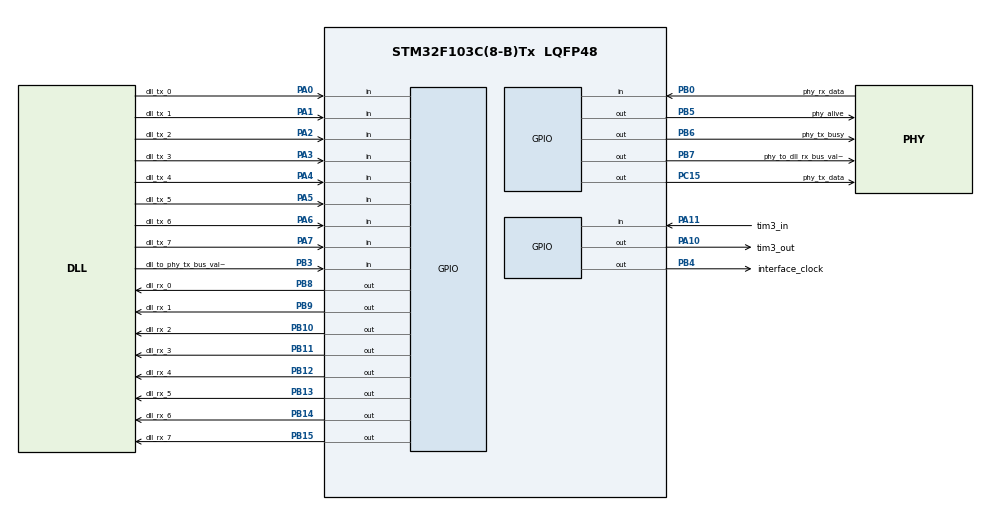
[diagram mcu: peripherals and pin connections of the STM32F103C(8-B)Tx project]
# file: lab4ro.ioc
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Mcu.Family=STM32F1
Mcu.Name=STM32F103C(8-B)Tx
Mcu.Package=LQFP48
NVIC.PriorityGroup=NVIC_PRIORITYGROUP_4
NVIC.TIM2_IRQn=true\:0\:0\:false\:true\:true\:1\:true
NVIC.TIM3_IRQn=true\:0\:0\:false\:true\:true\:2\:true
NVIC.TIM4_IRQn=true\:0\:0\:false\:true\:true\:3\:true
PA0-WKUP.GPIO_Label=dll_tx_0
PA0-WKUP.GPIO_PuPd=GPIO_PULLDOWN
PA0-WKUP.Signal=GPIO_Input
PA1.GPIO_Label=dll_tx_1
PA1.GPIO_PuPd=GPIO_PULLDOWN
PA1.Signal=GPIO_Input
PA10.GPIO_Label=tim3_out
PA10.Signal=GPIO_Output
PA11.GPIO_Label=tim3_in
PA11.GPIO_PuPd=GPIO_PULLDOWN
PA11.Signal=GPIO_Input
PA13.Mode=Serial_Wire
PA13.Signal=SYS_JTMS-SWDIO
PA14.Mode=Serial_Wire
PA14.Signal=SYS_JTCK-SWCLK
PA2.GPIO_Label=dll_tx_2
PA2.GPIO_PuPd=GPIO_PULLDOWN
PA2.Signal=GPIO_Input
PA3.GPIO_Label=dll_tx_3
PA3.GPIO_PuPd=GPIO_PULLDOWN
PA3.Signal=GPIO_Input
PA4.GPIO_Label=dll_tx_4
PA4.GPIO_PuPd=GPIO_PULLDOWN
PA4.Signal=GPIO_Input
PA5.GPIO_Label=dll_tx_5
PA5.GPIO_PuPd=GPIO_PULLDOWN
PA5.Signal=GPIO_Input
PA6.GPIO_Label=dll_tx_6
PA6.GPIO_PuPd=GPIO_PULLDOWN
PA6.Signal=GPIO_Input
PA7.GPIO_Label=dll_tx_7
PA7.GPIO_PuPd=GPIO_PULLDOWN
PA7.Signal=GPIO_Input
PB0.GPIO_Label=phy_rx_data
PB0.GPIO_PuPd=GPIO_PULLDOWN
PB0.Signal=GPIO_Input
PB10.GPIO_Label=dll_rx_2
PB10.Signal=GPIO_Output
PB11.GPIO_Label=dll_rx_3
PB11.Signal=GPIO_Output
PB12.GPIO_Label=dll_rx_4
PB12.Signal=GPIO_Output
PB13.GPIO_Label=dll_rx_5
PB13.Signal=GPIO_Output
PB14.GPIO_Label=dll_rx_6
PB14.Signal=GPIO_Output
PB15.GPIO_Label=dll_rx_7
PB15.Signal=GPIO_Output
PB3.GPIO_Label=dll_to_phy_tx_bus_valid
PB3.GPIO_PuPd=GPIO_PULLDOWN
PB3.Signal=GPIO_Input
PB4.GPIO_Label=interface_clock
PB4.Signal=GPIO_Output
PB5.GPIO_Label=phy_alive
PB5.Signal=GPIO_Output
PB6.GPIO_Label=phy_tx_busy
PB6.Signal=GPIO_Output
PB7.GPIO_Label=phy_to_dll_rx_bus_valid
PB7.Signal=GPIO_Output
PB8.GPIO_Label=dll_rx_0
PB8.Signal=GPIO_Output
PB9.GPIO_Label=dll_rx_1
PB9.Signal=GPIO_Output
PC15-OSC32_OUT.GPIO_Label=phy_tx_data
PC15-OSC32_OUT.Signal=GPIO_Output
ProjectManager.HeapSize=0x200
ProjectManager.StackSize=0x400
ProjectManager.TargetToolchain=MDK-ARM V5
RCC.AHBFreq_Value=8000000
RCC.APB1Freq_Value=8000000
RCC.APB1TimFreq_Value=8000000
RCC.APB2Freq_Value=8000000
RCC.APB2TimFreq_Value=8000000
RCC.HCLKFreq_Value=8000000
TIM2.AutoReloadPreload=TIM_AUTORELOAD_PRELOAD_ENABLE
TIM2.Period=159
TIM2.Prescaler=124
TIM3.AutoReloadPreload=TIM_AUTORELOAD_PRELOAD_ENABLE
TIM3.Period=79
TIM3.Prescaler=124
TIM4.AutoReloadPreload=TIM_AUTORELOAD_PRELOAD_ENABLE
TIM4.Period=3
TIM4.Prescaler=124
VP_TIM2_VS_ClockSourceINT.Mode=Internal
VP_TIM3_VS_ClockSourceINT.Mode=Internal
VP_TIM4_VS_ClockSourceINT.Mode=Internal
board=custom

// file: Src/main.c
/**
  ******************************************************************************
  * @file           : main.c
  * @brief          : Main program body
  ******************************************************************************
  ** This notice applies to any and all portions of this file
  * that are not between comment pairs USER CODE BEGIN and
  * USER CODE END. Other portions of this file, whether
  * inserted by the user or by software development tools
  * are owned by their respective copyright owners.
  *
  * COPYRIGHT(c) 2020 STMicroelectronics
  *
  * Redistribution and use in source and binary forms, with or without modification,
  * are permitted provided that the following conditions are met:
  *   1. Redistributions of source code must retain the above copyright notice,
  *      this list of conditions and the following disclaimer.
  *   2. Redistributions in binary form must reproduce the above copyright notice,
  *      this list of conditions and the following disclaimer in the documentation
  *      and/or other materials provided with the distribution.
  *   3. Neither the name of STMicroelectronics nor the names of its contributors
  *      may be used to endorse or promote products derived from this software
  *      without specific prior written permission.
  *
  * THIS SOFTWARE IS PROVIDED BY THE COPYRIGHT HOLDERS AND CONTRIBUTORS "AS IS"
  * AND ANY EXPRESS OR IMPLIED WARRANTIES, INCLUDING, BUT NOT LIMITED TO, THE
  * IMPLIED WARRANTIES OF MERCHANTABILITY AND FITNESS FOR A PARTICULAR PURPOSE ARE
  * DISCLAIMED. IN NO EVENT SHALL THE COPYRIGHT HOLDER OR CONTRIBUTORS BE LIABLE
  * FOR ANY DIRECT, INDIRECT, INCIDENTAL, SPECIAL, EXEMPLARY, OR CONSEQUENTIAL
  * DAMAGES (INCLUDING, BUT NOT LIMITED TO, PROCUREMENT OF SUBSTITUTE GOODS OR
  * SERVICES; LOSS OF USE, DATA, OR PROFITS; OR BUSINESS INTERRUPTION) HOWEVER
  * CAUSED AND ON ANY THEORY OF LIABILITY, WHETHER IN CONTRACT, STRICT LIABILITY,
  * OR TORT (INCLUDING NEGLIGENCE OR OTHERWISE) ARISING IN ANY WAY OUT OF THE USE
  * OF THIS SOFTWARE, EVEN IF ADVISED OF THE POSSIBILITY OF SUCH DAMAGE.
  *
  ******************************************************************************
  */
#include "main.h"
#include "stm32f1xx_hal.h"

/* USER CODE BEGIN Includes */
#include <stdint.h>
#define GPIOA_IDR 0x40010808
#define GPIOB_ODR 0x40010C0C
/* USER CODE END Includes */

TIM_HandleTypeDef htim2;
TIM_HandleTypeDef htim3;
TIM_HandleTypeDef htim4;

/* USER CODE BEGIN PV */
/* Private variables ---------------------------------------------------------*/
uint32_t phy_to_dll_rx_bus = 0; // saves the data recived from the phy to phy and moves it to the dll_rx

uint8_t phy_to_dll_rx_bus_valid = 0; // checks if there is data to be transferd to the dll_rx from the phy layer

uint32_t dll_to_phy_tx_bus = 0; // saves the original data we want to transfer to the phy layer from the dll tx.

uint8_t dll_to_phy_tx_bus_valid = 0; // checks if theres data allready transferd from the dll to the [hy layer

uint8_t phy_tx_busy = 0; // checks if there is data being transmited at the moment.
static uint32_t parity_tx=0;
uint32_t started =1;
static uint32_t c_clock=0;
int ft_flag=1;
static uint32_t prv_clock=0;
int ft2_flag=1;
uint8_t data=0;
uint8_t interface_tx_flag=0;
uint8_t interface_rx_flag=0;
static uint32_t *GPIOA_IDR_Pointer = (uint32_t*)GPIOA_IDR;
static uint32_t *GPIOB_ODR_Pointer = (uint32_t*)GPIOB_ODR;
uint32_t tempi2 = 0;
uint32_t stop_tim_flag =0;
uint32_t clock = 0;
uint32_t rx_current=1;
uint32_t rx_befcurrent=1;
static uint16_t shifter =1; // for the masking in order to iso the bit
static uint16_t transfer = 0; // var to the masked bit
//int samples =0;
//char all_samples[5] = {0};
//char its_for_1samp ;
uint32_t before_clock =0;
/* USER CODE END PV */

void SystemClock_Config(void);
static void MX_GPIO_Init(void);
static void MX_TIM2_Init(void);
static void MX_TIM3_Init(void);
static void MX_TIM4_Init(void);
static void MX_NVIC_Init(void);

/* USER CODE BEGIN PFP */
/* Private function prototypes -----------------------------------------------*/

/* USER CODE END PFP */

/* USER CODE BEGIN 0 */
	void interface()
{
	uint32_t efi =0; // just kidding efi num 1 also oren
	if (ft_flag)
	{
		HAL_TIM_Base_Start(&htim2);
		HAL_TIM_Base_Start_IT(&htim2);
		ft_flag=0;
		prv_clock=0;
	}
	if(!c_clock&&prv_clock&&dll_to_phy_tx_bus_valid)
	{
		dll_to_phy_tx_bus=(*GPIOA_IDR_Pointer & 255);
		interface_tx_flag=1;
	}
	else if ((c_clock)&&(!prv_clock))
		{
			if (ft2_flag)
			{
				HAL_GPIO_WritePin(phy_alive_GPIO_Port, phy_alive_Pin,GPIO_PIN_SET);
				ft2_flag=0;
			}
			if (phy_to_dll_rx_bus_valid)
			{
				HAL_GPIO_WritePin(phy_to_dll_rx_bus_valid_GPIO_Port, phy_to_dll_rx_bus_valid_Pin,GPIO_PIN_RESET);
			}
			if (interface_rx_flag)
			{
				efi = (phy_to_dll_rx_bus<<8) + (*GPIOB_ODR_Pointer & 255);
				*GPIOB_ODR_Pointer = efi;
				HAL_GPIO_WritePin(phy_to_dll_rx_bus_valid_GPIO_Port,phy_to_dll_rx_bus_valid_Pin,GPIO_PIN_SET);
				phy_to_dll_rx_bus_valid =1;
				//phy_to_dll_rx_bus=0;
				interface_rx_flag=0;
			}
		}
	prv_clock=c_clock;

}
void sampleClocks()
{
    before_clock = clock;
		prv_clock=c_clock;
		//phy_rx_clock = HAL_GPIO_ReadPin(phy_rx_clock_GPIO_Port,phy_rx_clock_Pin);
    c_clock = HAL_GPIO_ReadPin(interface_clock_GPIO_Port,interface_clock_Pin);
    dll_to_phy_tx_bus_valid = HAL_GPIO_ReadPin(dll_to_phy_tx_bus_valid_GPIO_Port, dll_to_phy_tx_bus_valid_Pin);
    phy_to_dll_rx_bus_valid = HAL_GPIO_ReadPin(phy_to_dll_rx_bus_valid_GPIO_Port, phy_to_dll_rx_bus_valid_Pin);
		clock=HAL_GPIO_ReadPin(tim3_in_GPIO_Port,tim3_in_Pin);

}

void phy_Tx()
{

	static uint32_t stop_bit=1;
	static int firsttime=1;
	static uint32_t place_in_frame=0;
	if(firsttime)
			HAL_GPIO_WritePin(phy_tx_data_GPIO_Port,phy_tx_data_Pin,GPIO_PIN_SET);
	if(interface_tx_flag && firsttime)
	{
		HAL_TIM_Base_Start_IT(&htim3);
		HAL_GPIO_WritePin(phy_tx_busy_GPIO_Port,phy_tx_busy_Pin,GPIO_PIN_SET);
		interface_tx_flag=0;
		firsttime=0;
	}
	else if(!before_clock&&clock)
	{
		switch(place_in_frame)
		{
			case 0:  //start bit - send logic 0
				HAL_GPIO_WritePin(phy_tx_data_GPIO_Port,phy_tx_data_Pin,GPIO_PIN_RESET);
				place_in_frame=1;
				break;
			case 1: //sending 1
				transfer = ((dll_to_phy_tx_bus) &	(shifter));
				if (shifter>128)
				{
					place_in_frame=2;
					HAL_GPIO_WritePin(phy_tx_data_GPIO_Port,phy_tx_data_Pin,parity_tx);

				}
				else if (transfer == shifter)
				{
					HAL_GPIO_WritePin (phy_tx_data_GPIO_Port, phy_tx_data_Pin, GPIO_PIN_SET);	//inserts one to the data
					parity_tx=1-parity_tx;
				}
				else
				{
					HAL_GPIO_WritePin (phy_tx_data_GPIO_Port, phy_tx_data_Pin, GPIO_PIN_RESET); // inserts zero to data
				}
				shifter = shifter*2;
				break;
			case 2:
				if (stop_bit==1)
				{
					HAL_GPIO_WritePin(phy_tx_data_GPIO_Port, phy_tx_data_Pin, GPIO_PIN_SET);
					stop_bit=2;

				}
				else if(stop_bit ==2)
				{
					HAL_GPIO_WritePin(phy_tx_data_GPIO_Port, phy_tx_data_Pin, GPIO_PIN_SET);
					stop_bit=3;

				}
			 else if(stop_bit==3)
				{
					stop_bit=1;
					HAL_TIM_Base_Stop_IT(&htim3);
					HAL_GPIO_WritePin(phy_tx_busy_GPIO_Port,phy_tx_busy_Pin,GPIO_PIN_RESET);
					place_in_frame =0;
					firsttime =1;
					shifter =1;
					parity_tx=0;
					transfer =0;
					HAL_GPIO_WritePin(tim3_out_GPIO_Port,tim3_out_Pin,GPIO_PIN_RESET);
				}
				break;
		}
	}
}

void phy_Rx()
{
	rx_current = HAL_GPIO_ReadPin(phy_rx_data_GPIO_Port,phy_rx_data_Pin);
	if(rx_current!=rx_befcurrent&&started)
	{
		HAL_TIM_Base_Start_IT(&htim4);
		started=0;
	}
	if(stop_tim_flag)
	{
		HAL_TIM_Base_Stop_IT(&htim4);
		started=1;
		stop_tim_flag=0;
	}

	rx_befcurrent = rx_current;

}

void phy_layer()
{
	phy_Tx();
	phy_Rx();
}

/* USER CODE END 0 */

int main(void)
{

  /* MCU Configuration----------------------------------------------------------*/

  /* Reset of all peripherals, Initializes the Flash interface and the Systick. */
  HAL_Init();

  /* Configure the system clock */
  SystemClock_Config();

  /* Initialize all configured peripherals */
  MX_GPIO_Init();
  MX_TIM2_Init();
  MX_TIM3_Init();
  MX_TIM4_Init();

  /* Initialize interrupts */
  MX_NVIC_Init();

  /* Infinite loop */
  /* USER CODE BEGIN WHILE */
  while (1)
  {
		phy_layer();
		interface();
		sampleClocks();
  /* USER CODE END WHILE */

  }

}

void SystemClock_Config(void)
{

  RCC_OscInitTypeDef RCC_OscInitStruct;
  RCC_ClkInitTypeDef RCC_ClkInitStruct;

    /**Initializes the CPU, AHB and APB busses clocks
    */
  RCC_OscInitStruct.OscillatorType = RCC_OSCILLATORTYPE_HSI;
  RCC_OscInitStruct.HSIState = RCC_HSI_ON;
  RCC_OscInitStruct.HSICalibrationValue = 16;
  RCC_OscInitStruct.PLL.PLLState = RCC_PLL_NONE;
  if (HAL_RCC_OscConfig(&RCC_OscInitStruct) != HAL_OK)
  {
    _Error_Handler(__FILE__, __LINE__);
  }

    /**Initializes the CPU, AHB and APB busses clocks
    */
  RCC_ClkInitStruct.ClockType = RCC_CLOCKTYPE_HCLK|RCC_CLOCKTYPE_SYSCLK
                              |RCC_CLOCKTYPE_PCLK1|RCC_CLOCKTYPE_PCLK2;
  RCC_ClkInitStruct.SYSCLKSource = RCC_SYSCLKSOURCE_HSI;
  RCC_ClkInitStruct.AHBCLKDivider = RCC_SYSCLK_DIV1;
  RCC_ClkInitStruct.APB1CLKDivider = RCC_HCLK_DIV1;
  RCC_ClkInitStruct.APB2CLKDivider = RCC_HCLK_DIV1;

  if (HAL_RCC_ClockConfig(&RCC_ClkInitStruct, FLASH_LATENCY_0) != HAL_OK)
  {
    _Error_Handler(__FILE__, __LINE__);
  }

    /**Configure the Systick interrupt time
    */
  HAL_SYSTICK_Config(HAL_RCC_GetHCLKFreq()/1000);

    /**Configure the Systick
    */
  HAL_SYSTICK_CLKSourceConfig(SYSTICK_CLKSOURCE_HCLK);

  /* SysTick_IRQn interrupt configuration */
  HAL_NVIC_SetPriority(SysTick_IRQn, 0, 0);
}

/**
  * @brief NVIC Configuration.
  * @retval None
  */
static void MX_NVIC_Init(void)
{
  /* TIM2_IRQn interrupt configuration */
  HAL_NVIC_SetPriority(TIM2_IRQn, 0, 0);
  HAL_NVIC_EnableIRQ(TIM2_IRQn);
  /* TIM3_IRQn interrupt configuration */
  HAL_NVIC_SetPriority(TIM3_IRQn, 0, 0);
  HAL_NVIC_EnableIRQ(TIM3_IRQn);
  /* TIM4_IRQn interrupt configuration */
  HAL_NVIC_SetPriority(TIM4_IRQn, 0, 0);
  HAL_NVIC_EnableIRQ(TIM4_IRQn);
}

/* TIM2 init function */
static void MX_TIM2_Init(void)
{

  TIM_ClockConfigTypeDef sClockSourceConfig;
  TIM_MasterConfigTypeDef sMasterConfig;

  htim2.Instance = TIM2;
  htim2.Init.Prescaler = 124;
  htim2.Init.CounterMode = TIM_COUNTERMODE_UP;
  htim2.Init.Period = 159;
  htim2.Init.ClockDivision = TIM_CLOCKDIVISION_DIV1;
  htim2.Init.AutoReloadPreload = TIM_AUTORELOAD_PRELOAD_ENABLE;
  if (HAL_TIM_Base_Init(&htim2) != HAL_OK)
  {
    _Error_Handler(__FILE__, __LINE__);
  }

  sClockSourceConfig.ClockSource = TIM_CLOCKSOURCE_INTERNAL;
  if (HAL_TIM_ConfigClockSource(&htim2, &sClockSourceConfig) != HAL_OK)
  {
    _Error_Handler(__FILE__, __LINE__);
  }

  sMasterConfig.MasterOutputTrigger = TIM_TRGO_RESET;
  sMasterConfig.MasterSlaveMode = TIM_MASTERSLAVEMODE_DISABLE;
  if (HAL_TIMEx_MasterConfigSynchronization(&htim2, &sMasterConfig) != HAL_OK)
  {
    _Error_Handler(__FILE__, __LINE__);
  }

}

/* TIM3 init function */
static void MX_TIM3_Init(void)
{

  TIM_ClockConfigTypeDef sClockSourceConfig;
  TIM_MasterConfigTypeDef sMasterConfig;

  htim3.Instance = TIM3;
  htim3.Init.Prescaler = 124;
  htim3.Init.CounterMode = TIM_COUNTERMODE_UP;
  htim3.Init.Period = 79;
  htim3.Init.ClockDivision = TIM_CLOCKDIVISION_DIV1;
  htim3.Init.AutoReloadPreload = TIM_AUTORELOAD_PRELOAD_ENABLE;
  if (HAL_TIM_Base_Init(&htim3) != HAL_OK)
  {
    _Error_Handler(__FILE__, __LINE__);
  }

  sClockSourceConfig.ClockSource = TIM_CLOCKSOURCE_INTERNAL;
  if (HAL_TIM_ConfigClockSource(&htim3, &sClockSourceConfig) != HAL_OK)
  {
    _Error_Handler(__FILE__, __LINE__);
  }

  sMasterConfig.MasterOutputTrigger = TIM_TRGO_RESET;
  sMasterConfig.MasterSlaveMode = TIM_MASTERSLAVEMODE_DISABLE;
  if (HAL_TIMEx_MasterConfigSynchronization(&htim3, &sMasterConfig) != HAL_OK)
  {
    _Error_Handler(__FILE__, __LINE__);
  }

}

/* TIM4 init function */
static void MX_TIM4_Init(void)
{

  TIM_ClockConfigTypeDef sClockSourceConfig;
  TIM_MasterConfigTypeDef sMasterConfig;

  htim4.Instance = TIM4;
  htim4.Init.Prescaler = 124;
  htim4.Init.CounterMode = TIM_COUNTERMODE_UP;
  htim4.Init.Period = 3;
  htim4.Init.ClockDivision = TIM_CLOCKDIVISION_DIV1;
  htim4.Init.AutoReloadPreload = TIM_AUTORELOAD_PRELOAD_ENABLE;
  if (HAL_TIM_Base_Init(&htim4) != HAL_OK)
  {
    _Error_Handler(__FILE__, __LINE__);
  }

  sClockSourceConfig.ClockSource = TIM_CLOCKSOURCE_INTERNAL;
  if (HAL_TIM_ConfigClockSource(&htim4, &sClockSourceConfig) != HAL_OK)
  {
    _Error_Handler(__FILE__, __LINE__);
  }

  sMasterConfig.MasterOutputTrigger = TIM_TRGO_RESET;
  sMasterConfig.MasterSlaveMode = TIM_MASTERSLAVEMODE_DISABLE;
  if (HAL_TIMEx_MasterConfigSynchronization(&htim4, &sMasterConfig) != HAL_OK)
  {
    _Error_Handler(__FILE__, __LINE__);
  }

}

/** Configure pins as
        * Analog
        * Input
        * Output
        * EVENT_OUT
        * EXTI
*/
static void MX_GPIO_Init(void)
{

  GPIO_InitTypeDef GPIO_InitStruct;

  /* GPIO Ports Clock Enable */
  __HAL_RCC_GPIOC_CLK_ENABLE();
  __HAL_RCC_GPIOA_CLK_ENABLE();
  __HAL_RCC_GPIOB_CLK_ENABLE();

  /*Configure GPIO pin Output Level */
  HAL_GPIO_WritePin(phy_tx_data_GPIO_Port, phy_tx_data_Pin, GPIO_PIN_RESET);

  /*Configure GPIO pin Output Level */
  HAL_GPIO_WritePin(GPIOB, dll_rx_2_Pin|dll_rx_3_Pin|dll_rx_4_Pin|dll_rx_5_Pin
                          |dll_rx_6_Pin|dll_rx_7_Pin|interface_clock_Pin|phy_alive_Pin
                          |phy_tx_busy_Pin|phy_to_dll_rx_bus_valid_Pin|dll_rx_0_Pin|dll_rx_1_Pin, GPIO_PIN_RESET);

  /*Configure GPIO pin Output Level */
  HAL_GPIO_WritePin(tim3_out_GPIO_Port, tim3_out_Pin, GPIO_PIN_RESET);

  /*Configure GPIO pin : phy_tx_data_Pin */
  GPIO_InitStruct.Pin = phy_tx_data_Pin;
  GPIO_InitStruct.Mode = GPIO_MODE_OUTPUT_PP;
  GPIO_InitStruct.Pull = GPIO_NOPULL;
  GPIO_InitStruct.Speed = GPIO_SPEED_FREQ_LOW;
  HAL_GPIO_Init(phy_tx_data_GPIO_Port, &GPIO_InitStruct);

  /*Configure GPIO pins : dll_tx_0_Pin dll_tx_1_Pin dll_tx_2_Pin dll_tx_3_Pin
                           dll_tx_4_Pin dll_tx_5_Pin dll_tx_6_Pin dll_tx_7_Pin
                           tim3_in_Pin */
  GPIO_InitStruct.Pin = dll_tx_0_Pin|dll_tx_1_Pin|dll_tx_2_Pin|dll_tx_3_Pin
                          |dll_tx_4_Pin|dll_tx_5_Pin|dll_tx_6_Pin|dll_tx_7_Pin
                          |tim3_in_Pin;
  GPIO_InitStruct.Mode = GPIO_MODE_INPUT;
  GPIO_InitStruct.Pull = GPIO_PULLDOWN;
  HAL_GPIO_Init(GPIOA, &GPIO_InitStruct);

  /*Configure GPIO pins : phy_rx_data_Pin dll_to_phy_tx_bus_valid_Pin */
  GPIO_InitStruct.Pin = phy_rx_data_Pin|dll_to_phy_tx_bus_valid_Pin;
  GPIO_InitStruct.Mode = GPIO_MODE_INPUT;
  GPIO_InitStruct.Pull = GPIO_PULLDOWN;
  HAL_GPIO_Init(GPIOB, &GPIO_InitStruct);

  /*Configure GPIO pins : dll_rx_2_Pin dll_rx_3_Pin dll_rx_4_Pin dll_rx_5_Pin
                           dll_rx_6_Pin dll_rx_7_Pin interface_clock_Pin phy_alive_Pin
                           phy_tx_busy_Pin phy_to_dll_rx_bus_valid_Pin dll_rx_0_Pin dll_rx_1_Pin */
  GPIO_InitStruct.Pin = dll_rx_2_Pin|dll_rx_3_Pin|dll_rx_4_Pin|dll_rx_5_Pin
                          |dll_rx_6_Pin|dll_rx_7_Pin|interface_clock_Pin|phy_alive_Pin
                          |phy_tx_busy_Pin|phy_to_dll_rx_bus_valid_Pin|dll_rx_0_Pin|dll_rx_1_Pin;
  GPIO_InitStruct.Mode = GPIO_MODE_OUTPUT_PP;
  GPIO_InitStruct.Pull = GPIO_NOPULL;
  GPIO_InitStruct.Speed = GPIO_SPEED_FREQ_LOW;
  HAL_GPIO_Init(GPIOB, &GPIO_InitStruct);

  /*Configure GPIO pin : tim3_out_Pin */
  GPIO_InitStruct.Pin = tim3_out_Pin;
  GPIO_InitStruct.Mode = GPIO_MODE_OUTPUT_PP;
  GPIO_InitStruct.Pull = GPIO_NOPULL;
  GPIO_InitStruct.Speed = GPIO_SPEED_FREQ_LOW;
  HAL_GPIO_Init(tim3_out_GPIO_Port, &GPIO_InitStruct);

}

void _Error_Handler(char *file, int line)
{
  while(1)
  {
  }
}

/************************ (C) COPYRIGHT STMicroelectronics *****END OF FILE****/
